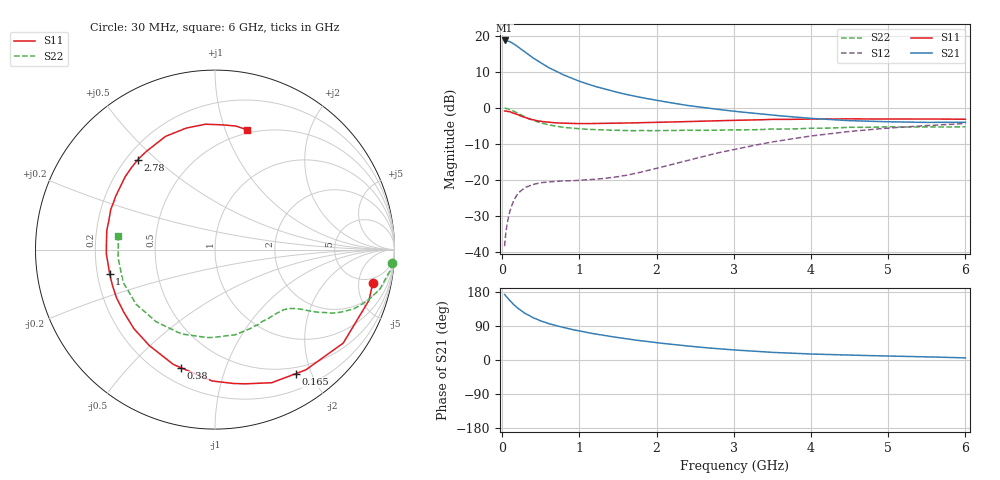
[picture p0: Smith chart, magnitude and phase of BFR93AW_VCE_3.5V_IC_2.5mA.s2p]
! Infineon Technologies  Discrete & RF Semiconductors
! BFR93AW
! VCE =  3.5 V,  IC =  2.5 mA
! Common Emitter S-Parameters:  Nov 2015
# GHz  S  MA  R  50
!  f  S11  S21  S12  S22
! GHz  MAG  ANG  MAG  ANG  MAG  ANG  MAG  ANG
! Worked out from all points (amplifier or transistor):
!   206 points, 30 MHz to 6 GHz, reference 50 ohm
!   highest |S21| = 18.7 dB at 30 MHz (marker M1)
!   |S21| within 3 dB of that: start of sweep to 281.1 MHz
!   unconditionally stable (mu >= 1): 1.152 GHz to 2.347 GHz
!   at 200 MHz: K = 0.19, MSG = 20.5 dB, |S12| = -23.9 dB
!   at 1.56 GHz: K = 1.15, MAG = 9.1 dB, |S12| = -19.0 dB
!   at 6 GHz: K = 0.98, MSG = 0.2 dB, |S12| = -4.4 dB
!   S11 on the Smith chart (normalised r, x): 30 MHz: 3.93, -7.58; 165 MHz: 0.41, -1.77; 380 MHz: 0.29, -0.71; 1 GHz: 0.25, -0.11; 2.78 GHz: 0.25, +0.43; 6 GHz: 0.47, +1.19
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0.03  0.8987 -11.9  8.606 172.8  0.0119 83.6  0.9901 -4.3
0.05  0.9033 -18.2  8.59 167.8  0.0197 80.1  0.9815 -7.0
0.1  0.8841 -36.1  8.284 156.5  0.0371 71.4  0.9448 -13.5
0.15  0.8398 -52.9  7.703 145.8  0.0517 62.5  0.8941 -18.8
0.165  0.8246 -57.0  7.502 143.3  0.0553 60.3  0.8777 -20.0
0.2  0.8062 -66.9  7.093 136.9  0.0639 56.2  0.8411 -23.1
0.26  0.7528 -82.2  6.334 127.7  0.0726 49.6  0.7777 -26.7
0.3  0.732 -91.3  5.89 122.3  0.0781 46.6  0.7417 -28.5
0.38  0.6849 -106.0  5.088 114.0  0.0841 41.9  0.6814 -30.8
0.4  0.6807 -109.9  4.908 111.5  0.0857 40.8  0.6665 -31.5
0.5  0.6479 -124.4  4.191 102.9  0.0909 37.2  0.6138 -33.5
0.6  0.631 -135.8  3.614 96.1  0.0929 35.7  0.5782 -34.9
0.8  0.6109 -154.1  2.841 85.2  0.096 35.0  0.5317 -38.1
1  0.6023 -167.0  2.332 76.4  0.098 38.0  0.5095 -41.1
1.04  0.6011 -169.2  2.256 74.9  0.0985 38.7  0.5058 -42.0
1.5  0.6123 169.9  1.623 59.1  0.1099 51.0  0.4856 -52.3
2.02  0.6281 151.8  1.255 45.1  0.1455 62.7  0.4814 -66.3
2.78  0.6598 130.8  0.953 30.0  0.2337 67.0  0.4872 -88.5
3.1  0.6694 122.7  0.871 25.3  0.2761 65.1  0.4913 -98.1
4.1  0.6953 101.5  0.701 15.3  0.4165 53.4  0.5186 -132.4
5.1  0.696 85.7  0.635 10.0  0.5295 38.4  0.5405 -163.4
6  0.6911 75.0  0.627 5.6  0.602 25.9  0.5434 172.1
